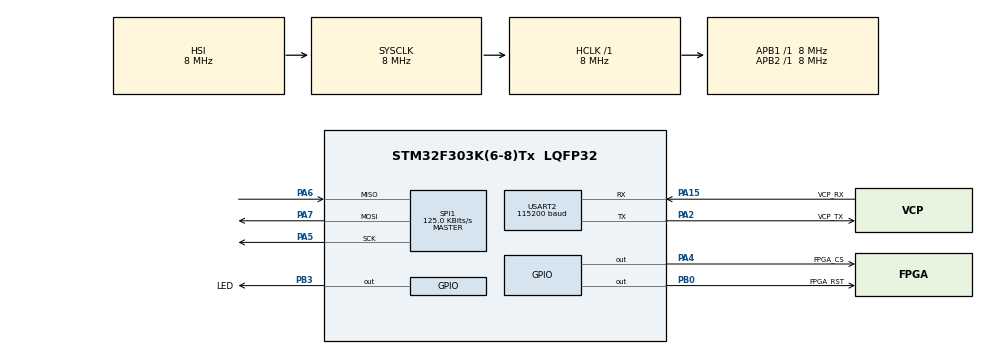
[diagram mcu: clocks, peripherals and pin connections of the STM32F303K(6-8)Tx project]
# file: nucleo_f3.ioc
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Mcu.Family=STM32F3
Mcu.Name=STM32F303K(6-8)Tx
Mcu.Package=LQFP32
NVIC.PriorityGroup=NVIC_PRIORITYGROUP_4
PA13.GPIO_Label=SWDIO
PA13.Signal=SYS_JTMS-SWDIO
PA14.GPIO_Label=SWCLK
PA14.Signal=SYS_JTCK-SWCLK
PA15.GPIO_Label=VCP_RX
PA15.Mode=Asynchronous
PA15.Signal=USART2_RX
PA2.GPIO_Label=VCP_TX
PA2.Mode=Asynchronous
PA2.Signal=USART2_TX
PA4.GPIO_Label=FPGA_CS
PA4.Signal=GPIO_Output
PA5.Mode=Full_Duplex_Master
PA5.Signal=SPI1_SCK
PA6.Mode=Full_Duplex_Master
PA6.Signal=SPI1_MISO
PA7.Mode=Full_Duplex_Master
PA7.Signal=SPI1_MOSI
PB0.GPIO_Label=FPGA_RST
PB0.Signal=GPIO_Output
PB3.GPIO_Label=LED
PB3.Signal=GPIO_Output
PF0\ /\ OSC_IN.GPIO_Label=MCO
PF0\ /\ OSC_IN.Signal=RCC_OSC_IN
ProjectManager.HeapSize=0x200
ProjectManager.StackSize=0x400
ProjectManager.TargetToolchain=Makefile
RCC.AHBFreq_Value=8000000
RCC.APB1Freq_Value=8000000
RCC.APB2Freq_Value=8000000
RCC.CortexFreq_Value=8000000
RCC.HSE_VALUE=8000000
RCC.HSI_VALUE=8000000
RCC.SYSCLKFreq_VALUE=8000000
SPI1.BaudRatePrescaler=SPI_BAUDRATEPRESCALER_64
SPI1.CLKPhase=SPI_PHASE_1EDGE
SPI1.CLKPolarity=SPI_POLARITY_HIGH
SPI1.CalculateBaudRate=125.0 KBits/s
SPI1.DataSize=SPI_DATASIZE_16BIT
SPI1.Direction=SPI_DIRECTION_2LINES
SPI1.Mode=SPI_MODE_MASTER
SPI1.VirtualType=VM_MASTER
USART2.BaudRate=115200
USART2.VirtualMode-Asynchronous=VM_ASYNC
board=NUCLEO-F303K8

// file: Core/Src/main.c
/* USER CODE BEGIN Header */
/**
 ******************************************************************************
 * @file           : main.c
 * @brief          : Main program body
 ******************************************************************************
 * @attention
 *
 * Copyright (c) 2024 STMicroelectronics.
 * All rights reserved.
 *
 * This software is licensed under terms that can be found in the LICENSE file
 * in the root directory of this software component.
 * If no LICENSE file comes with this software, it is provided AS-IS.
 *
 ******************************************************************************
 */
/* USER CODE END Header */
#include "main.h"

/* USER CODE BEGIN Includes */
#include <string.h>
#include "app.h"
/* USER CODE END Includes */

SPI_HandleTypeDef hspi1;

UART_HandleTypeDef huart2;

void SystemClock_Config(void);
static void MX_GPIO_Init(void);
static void MX_SPI1_Init(void);
static void MX_USART2_UART_Init(void);

/* USER CODE BEGIN 0 */

void setFpgaRst(GPIO_PinState state)
{
  HAL_GPIO_WritePin(FPGA_RST_GPIO_Port, FPGA_RST_Pin, state);
}

void setFpgaCs(GPIO_PinState state)
{
  HAL_GPIO_WritePin(FPGA_CS_GPIO_Port, FPGA_CS_Pin, state);
}

int8_t txRxFpgaSpi(uint16_t *txData, uint16_t *rxData, uint16_t dataLen)
{
  return HAL_SPI_TransmitReceive(&hspi1, (uint8_t *)txData, (uint8_t *)rxData, dataLen, 100);
}

uint32_t millis()
{
  return HAL_GetTick();
}

void delay(uint32_t ms)
{
  HAL_Delay(ms);
}

void serialPrint(char *str)
{
  HAL_UART_Transmit(&huart2, (uint8_t *)str, strlen(str), 100);
}

int8_t serialRead(uint8_t *buffer, uint16_t bytes, uint32_t timeout)
{
  if (HAL_UART_Receive(&huart2, buffer, bytes, timeout) != HAL_OK)
    return -1;
  return 0;
}

int32_t serialReadString(char *buffer, uint32_t bufferSize, uint32_t timeout)
{
  int32_t bytesRead = 0;
  char c;
  uint32_t startMillis = millis();

  while (millis() - startMillis < timeout)
  {
    // null terminate and end if buffer size reached
    if (bytesRead == bufferSize - 1)
    {
      buffer[bytesRead] = '\0';
    }

    if (serialRead((uint8_t *)&c, 1, timeout) < 0)
      return -1;

    if (c == '\n')
    {
      buffer[bytesRead++] = '\0'; // null terminate
      break;
    }

    buffer[bytesRead++] = c;
  }

  return bytesRead;
}

/* USER CODE END 0 */

int main(void)
{

  /* MCU Configuration--------------------------------------------------------*/

  /* Reset of all peripherals, Initializes the Flash interface and the Systick. */
  HAL_Init();

  /* Configure the system clock */
  SystemClock_Config();

  /* Initialize all configured peripherals */
  MX_GPIO_Init();
  MX_SPI1_Init();
  MX_USART2_UART_Init();

  /* Infinite loop */
  /* USER CODE BEGIN WHILE */
  while (1)
  {
    app();
    /* USER CODE END WHILE */

  }
}

void SystemClock_Config(void)
{
  RCC_OscInitTypeDef RCC_OscInitStruct = {0};
  RCC_ClkInitTypeDef RCC_ClkInitStruct = {0};

  /** Initializes the RCC Oscillators according to the specified parameters
   * in the RCC_OscInitTypeDef structure.
   */
  RCC_OscInitStruct.OscillatorType = RCC_OSCILLATORTYPE_HSI;
  RCC_OscInitStruct.HSIState = RCC_HSI_ON;
  RCC_OscInitStruct.HSICalibrationValue = RCC_HSICALIBRATION_DEFAULT;
  RCC_OscInitStruct.PLL.PLLState = RCC_PLL_NONE;
  if (HAL_RCC_OscConfig(&RCC_OscInitStruct) != HAL_OK)
  {
    Error_Handler();
  }

  /** Initializes the CPU, AHB and APB buses clocks
   */
  RCC_ClkInitStruct.ClockType = RCC_CLOCKTYPE_HCLK | RCC_CLOCKTYPE_SYSCLK | RCC_CLOCKTYPE_PCLK1 | RCC_CLOCKTYPE_PCLK2;
  RCC_ClkInitStruct.SYSCLKSource = RCC_SYSCLKSOURCE_HSI;
  RCC_ClkInitStruct.AHBCLKDivider = RCC_SYSCLK_DIV1;
  RCC_ClkInitStruct.APB1CLKDivider = RCC_HCLK_DIV1;
  RCC_ClkInitStruct.APB2CLKDivider = RCC_HCLK_DIV1;

  if (HAL_RCC_ClockConfig(&RCC_ClkInitStruct, FLASH_LATENCY_0) != HAL_OK)
  {
    Error_Handler();
  }
}

static void MX_SPI1_Init(void)
{

  /* SPI1 parameter configuration*/
  hspi1.Instance = SPI1;
  hspi1.Init.Mode = SPI_MODE_MASTER;
  hspi1.Init.Direction = SPI_DIRECTION_2LINES;
  hspi1.Init.DataSize = SPI_DATASIZE_16BIT;
  hspi1.Init.CLKPolarity = SPI_POLARITY_HIGH;
  hspi1.Init.CLKPhase = SPI_PHASE_1EDGE;
  hspi1.Init.NSS = SPI_NSS_SOFT;
  hspi1.Init.BaudRatePrescaler = SPI_BAUDRATEPRESCALER_64;
  hspi1.Init.FirstBit = SPI_FIRSTBIT_MSB;
  hspi1.Init.TIMode = SPI_TIMODE_DISABLE;
  hspi1.Init.CRCCalculation = SPI_CRCCALCULATION_DISABLE;
  hspi1.Init.CRCPolynomial = 7;
  hspi1.Init.CRCLength = SPI_CRC_LENGTH_DATASIZE;
  hspi1.Init.NSSPMode = SPI_NSS_PULSE_ENABLE;
  if (HAL_SPI_Init(&hspi1) != HAL_OK)
  {
    Error_Handler();
  }
}

static void MX_USART2_UART_Init(void)
{

  huart2.Instance = USART2;
  huart2.Init.BaudRate = 115200;
  huart2.Init.WordLength = UART_WORDLENGTH_8B;
  huart2.Init.StopBits = UART_STOPBITS_1;
  huart2.Init.Parity = UART_PARITY_NONE;
  huart2.Init.Mode = UART_MODE_TX_RX;
  huart2.Init.HwFlowCtl = UART_HWCONTROL_NONE;
  huart2.Init.OverSampling = UART_OVERSAMPLING_16;
  huart2.Init.OneBitSampling = UART_ONE_BIT_SAMPLE_DISABLE;
  huart2.AdvancedInit.AdvFeatureInit = UART_ADVFEATURE_NO_INIT;
  if (HAL_UART_Init(&huart2) != HAL_OK)
  {
    Error_Handler();
  }
}

static void MX_GPIO_Init(void)
{
  GPIO_InitTypeDef GPIO_InitStruct = {0};

  /* GPIO Ports Clock Enable */
  __HAL_RCC_GPIOF_CLK_ENABLE();
  __HAL_RCC_GPIOA_CLK_ENABLE();
  __HAL_RCC_GPIOB_CLK_ENABLE();

  /*Configure GPIO pin Output Level */
  HAL_GPIO_WritePin(FPGA_CS_GPIO_Port, FPGA_CS_Pin, GPIO_PIN_RESET);

  /*Configure GPIO pin Output Level */
  HAL_GPIO_WritePin(GPIOB, FPGA_RST_Pin | LED_Pin, GPIO_PIN_RESET);

  /*Configure GPIO pin : PF1 */
  GPIO_InitStruct.Pin = GPIO_PIN_1;
  GPIO_InitStruct.Mode = GPIO_MODE_ANALOG;
  GPIO_InitStruct.Pull = GPIO_NOPULL;
  HAL_GPIO_Init(GPIOF, &GPIO_InitStruct);

  /*Configure GPIO pins : PA0 PA1 PA3 PA8
                           PA9 PA10 PA11 PA12 */
  GPIO_InitStruct.Pin = GPIO_PIN_0 | GPIO_PIN_1 | GPIO_PIN_3 | GPIO_PIN_8 | GPIO_PIN_9 | GPIO_PIN_10 | GPIO_PIN_11 | GPIO_PIN_12;
  GPIO_InitStruct.Mode = GPIO_MODE_ANALOG;
  GPIO_InitStruct.Pull = GPIO_NOPULL;
  HAL_GPIO_Init(GPIOA, &GPIO_InitStruct);

  /*Configure GPIO pin : FPGA_CS_Pin */
  GPIO_InitStruct.Pin = FPGA_CS_Pin;
  GPIO_InitStruct.Mode = GPIO_MODE_OUTPUT_PP;
  GPIO_InitStruct.Pull = GPIO_NOPULL;
  GPIO_InitStruct.Speed = GPIO_SPEED_FREQ_LOW;
  HAL_GPIO_Init(FPGA_CS_GPIO_Port, &GPIO_InitStruct);

  /*Configure GPIO pins : FPGA_RST_Pin LED_Pin */
  GPIO_InitStruct.Pin = FPGA_RST_Pin | LED_Pin;
  GPIO_InitStruct.Mode = GPIO_MODE_OUTPUT_PP;
  GPIO_InitStruct.Pull = GPIO_NOPULL;
  GPIO_InitStruct.Speed = GPIO_SPEED_FREQ_LOW;
  HAL_GPIO_Init(GPIOB, &GPIO_InitStruct);

  /*Configure GPIO pins : PB1 PB4 PB5 PB6
                           PB7 */
  GPIO_InitStruct.Pin = GPIO_PIN_1 | GPIO_PIN_4 | GPIO_PIN_5 | GPIO_PIN_6 | GPIO_PIN_7;
  GPIO_InitStruct.Mode = GPIO_MODE_ANALOG;
  GPIO_InitStruct.Pull = GPIO_NOPULL;
  HAL_GPIO_Init(GPIOB, &GPIO_InitStruct);

}

void Error_Handler(void)
{
  __disable_irq();
  while (1)
  {
  }
}
